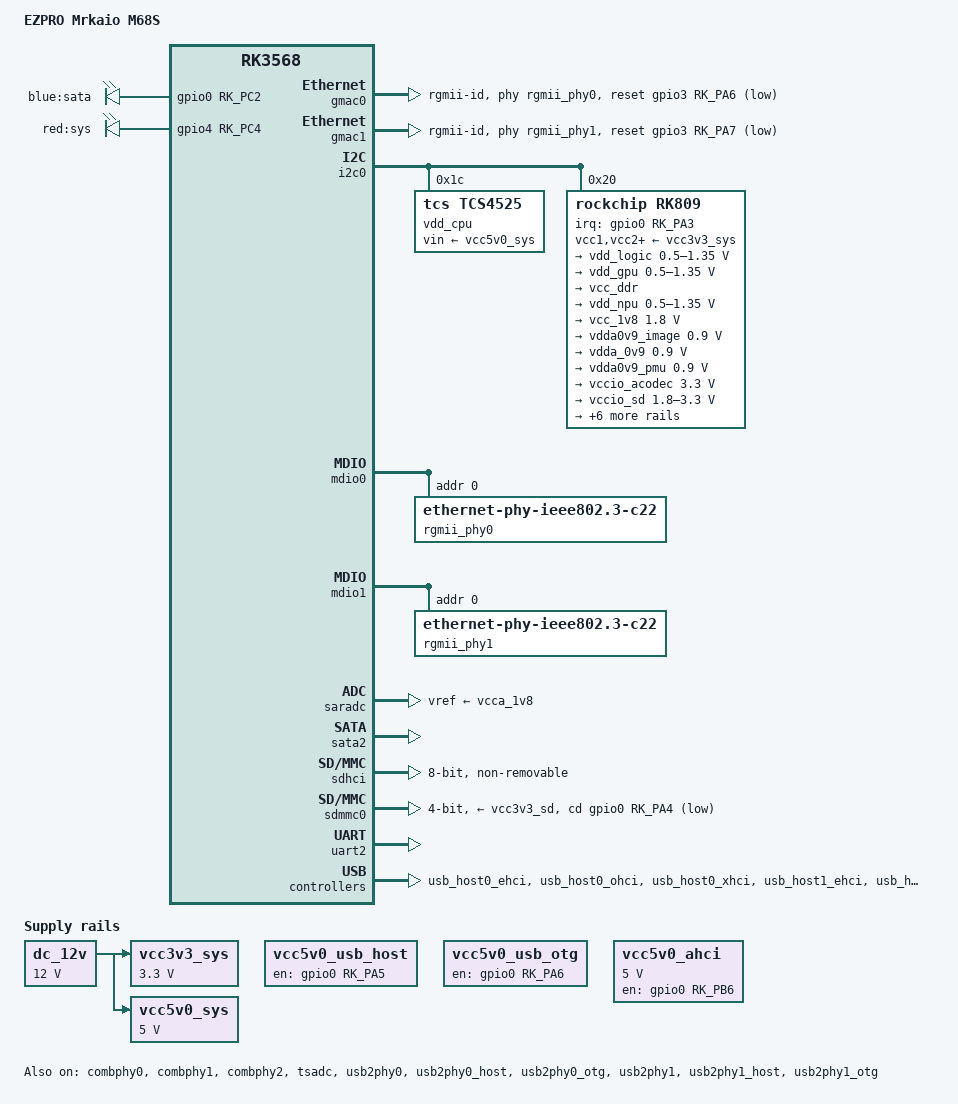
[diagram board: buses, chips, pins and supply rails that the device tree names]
// SPDX-License-Identifier: (GPL-2.0+ OR MIT)

/dts-v1/;

#include <dt-bindings/gpio/gpio.h>
#include <dt-bindings/input/input.h>
#include <dt-bindings/pinctrl/rockchip.h>
#include "rk3568.dtsi"

/ {
	model = "EZPRO Mrkaio M68S";
	compatible = "ezpro,mrkaio-m68s", "rockchip,rk3568";

	aliases {
		ethernet0 = &gmac0;
		ethernet1 = &gmac1;
		mmc0 = &sdmmc0;
		mmc1 = &sdhci;

		led-boot = &led_sys;
		led-failsafe = &led_sys;
		led-running = &led_sys;
		led-upgrade = &led_sys;
	};

	chosen {
		stdout-path = "serial2:1500000n8";
	};

	leds {
		compatible = "gpio-leds";
		pinctrl-names = "default";
		pinctrl-0 = <&led_sata_en>, <&led_sys_en>;

		sata {
			label = "blue:sata";
			gpios = <&gpio0 RK_PC2 GPIO_ACTIVE_HIGH>;
		};

		led_sys: sys {
			label = "red:sys";
			gpios = <&gpio4 RK_PC4 GPIO_ACTIVE_HIGH>;
		};
	};

	dc_12v: dc-12v {
		compatible = "regulator-fixed";
		regulator-always-on;
		regulator-boot-on;
		regulator-min-microvolt = <12000000>;
		regulator-max-microvolt = <12000000>;
		regulator-name = "dc_12v";
	};

	vcc3v3_sys: vcc3v3-sys {
		compatible = "regulator-fixed";
		regulator-always-on;
		regulator-boot-on;
		regulator-min-microvolt = <3300000>;
		regulator-max-microvolt = <3300000>;
		regulator-name = "vcc3v3_sys";
		vin-supply = <&dc_12v>;
	};

	vcc5v0_sys: vcc5v0-sys {
		compatible = "regulator-fixed";
		regulator-always-on;
		regulator-boot-on;
		regulator-min-microvolt = <5000000>;
		regulator-max-microvolt = <5000000>;
		regulator-name = "vcc5v0_sys";
		vin-supply = <&dc_12v>;
	};

	vcc5v0_usb_host: vcc5v0-usb-host {
		compatible = "regulator-fixed";
		enable-active-high;
		gpio = <&gpio0 RK_PA5 GPIO_ACTIVE_HIGH>;
		pinctrl-names = "default";
		pinctrl-0 = <&vcc5v0_usb_host_en>;
		regulator-always-on;
		regulator-boot-on;
		regulator-name = "vcc5v0_usb_host";
	};

	vcc5v0_usb_otg: vcc5v0-usb-otg {
		compatible = "regulator-fixed";
		enable-active-high;
		gpio = <&gpio0 RK_PA6 GPIO_ACTIVE_HIGH>;
		pinctrl-names = "default";
		pinctrl-0 = <&vcc5v0_usb_otg_en>;
		regulator-always-on;
		regulator-boot-on;
		regulator-name = "vcc5v0_usb_otg";
	};

	vcc5v0_ahci: vcc5v0-ahci {
		compatible = "regulator-fixed";
		enable-active-high;
		gpio = <&gpio0 RK_PB6 GPIO_ACTIVE_HIGH>;
		pinctrl-names = "default";
		pinctrl-0 = <&sata_pwr_en>;
		regulator-always-on;
		regulator-boot-on;
		regulator-min-microvolt = <5000000>;
		regulator-max-microvolt = <5000000>;
		regulator-name = "vcc5v0_ahci";
	};
};

&combphy0 {
	status = "okay";
};

&combphy1 {
	status = "okay";
};

&combphy2 {
	status = "okay";
};

&cpu0 {
	cpu-supply = <&vdd_cpu>;
};

&cpu1 {
	cpu-supply = <&vdd_cpu>;
};

&cpu2 {
	cpu-supply = <&vdd_cpu>;
};

&cpu3 {
	cpu-supply = <&vdd_cpu>;
};

&gmac0 {
	assigned-clocks = <&cru SCLK_GMAC0_RX_TX>, <&cru SCLK_GMAC0>;
	assigned-clock-parents = <&cru SCLK_GMAC0_RGMII_SPEED>;
	assigned-clock-rates = <0>, <125000000>;
	clock_in_out = "output";
	phy-mode = "rgmii-id";
	pinctrl-names = "default";
	pinctrl-0 = <&gmac0_miim
		     &gmac0_tx_bus2
		     &gmac0_rx_bus2
		     &gmac0_rgmii_clk
		     &gmac0_rgmii_bus>;
	snps,reset-gpio = <&gpio3 RK_PA6 GPIO_ACTIVE_LOW>;
	snps,reset-active-low;
	/* Reset time is 20ms, 100ms for rtl8211f */
	snps,reset-delays-us = <0 20000 100000>;
	tx_delay = <0x3c>;
	rx_delay = <0x2f>;
	phy-handle = <&rgmii_phy0>;
	status = "okay";
};

&gmac1 {
	assigned-clocks = <&cru SCLK_GMAC1_RX_TX>, <&cru SCLK_GMAC1>;
	assigned-clock-parents = <&cru SCLK_GMAC1_RGMII_SPEED>;
	assigned-clock-rates = <0>, <125000000>;
	clock_in_out = "output";
	phy-mode = "rgmii-id";
	pinctrl-names = "default";
	pinctrl-0 = <&gmac1m1_miim
		     &gmac1m1_tx_bus2
		     &gmac1m1_rx_bus2
		     &gmac1m1_rgmii_clk
		     &gmac1m1_rgmii_bus>;
	snps,reset-gpio = <&gpio3 RK_PA7 GPIO_ACTIVE_LOW>;
	snps,reset-active-low;
	/* Reset time is 20ms, 100ms for rtl8211f */
	snps,reset-delays-us = <0 20000 100000>;
	tx_delay = <0x42>;
	rx_delay = <0x28>;
	phy-handle = <&rgmii_phy1>;
	status = "okay";
};

&i2c0 {
	status = "okay";

	vdd_cpu: regulator@1c {
		compatible = "tcs,tcs4525";
		reg = <0x1c>;
		fcs,suspend-voltage-selector = <1>;
		regulator-always-on;
		regulator-boot-on;
		regulator-min-microvolt = <712500>;
		regulator-max-microvolt = <1390000>;
		regulator-name = "vdd_cpu";
		regulator-ramp-delay = <2300>;
		vin-supply = <&vcc5v0_sys>;

		regulator-state-mem {
			regulator-off-in-suspend;
		};
	};

	rk809: pmic@20 {
		compatible = "rockchip,rk809";
		reg = <0x20>;
		interrupt-parent = <&gpio0>;
		interrupts = <RK_PA3 IRQ_TYPE_LEVEL_LOW>;
		#clock-cells = <1>;
		pinctrl-names = "default";
		pinctrl-0 = <&pmic_int>;
		rockchip,system-power-controller;
		wakeup-source;

		vcc1-supply = <&vcc3v3_sys>;
		vcc2-supply = <&vcc3v3_sys>;
		vcc3-supply = <&vcc3v3_sys>;
		vcc4-supply = <&vcc3v3_sys>;
		vcc5-supply = <&vcc3v3_sys>;
		vcc6-supply = <&vcc3v3_sys>;
		vcc7-supply = <&vcc3v3_sys>;
		vcc8-supply = <&vcc3v3_sys>;
		vcc9-supply = <&vcc3v3_sys>;

		regulators {
			vdd_logic: DCDC_REG1 {
				regulator-always-on;
				regulator-boot-on;
				regulator-init-microvolt = <900000>;
				regulator-initial-mode = <0x2>;
				regulator-min-microvolt = <500000>;
				regulator-max-microvolt = <1350000>;
				regulator-name = "vdd_logic";
				regulator-ramp-delay = <6001>;

				regulator-state-mem {
					regulator-off-in-suspend;
				};
			};

			vdd_gpu: DCDC_REG2 {
				regulator-always-on;
				regulator-boot-on;
				regulator-init-microvolt = <900000>;
				regulator-initial-mode = <0x2>;
				regulator-min-microvolt = <500000>;
				regulator-max-microvolt = <1350000>;
				regulator-name = "vdd_gpu";
				regulator-ramp-delay = <6001>;

				regulator-state-mem {
					regulator-off-in-suspend;
				};
			};

			vcc_ddr: DCDC_REG3 {
				regulator-always-on;
				regulator-boot-on;
				regulator-initial-mode = <0x2>;
				regulator-name = "vcc_ddr";

				regulator-state-mem {
					regulator-on-in-suspend;
				};
			};

			vdd_npu: DCDC_REG4 {
				regulator-always-on;
				regulator-boot-on;
				regulator-init-microvolt = <900000>;
				regulator-initial-mode = <0x2>;
				regulator-min-microvolt = <500000>;
				regulator-max-microvolt = <1350000>;
				regulator-name = "vdd_npu";
				regulator-ramp-delay = <6001>;

				regulator-state-mem {
					regulator-off-in-suspend;
				};
			};

			vcc_1v8: DCDC_REG5 {
				regulator-always-on;
				regulator-boot-on;
				regulator-min-microvolt = <1800000>;
				regulator-max-microvolt = <1800000>;
				regulator-name = "vcc_1v8";

				regulator-state-mem {
					regulator-off-in-suspend;
				};
			};

			vdda0v9_image: LDO_REG1 {
				regulator-always-on;
				regulator-boot-on;
				regulator-min-microvolt = <900000>;
				regulator-max-microvolt = <900000>;
				regulator-name = "vdda0v9_image";

				regulator-state-mem {
					regulator-off-in-suspend;
				};
			};

			vdda_0v9: LDO_REG2 {
				regulator-always-on;
				regulator-boot-on;
				regulator-min-microvolt = <900000>;
				regulator-max-microvolt = <900000>;
				regulator-name = "vdda_0v9";

				regulator-state-mem {
					regulator-off-in-suspend;
				};
			};

			vdda0v9_pmu: LDO_REG3 {
				regulator-always-on;
				regulator-boot-on;
				regulator-min-microvolt = <900000>;
				regulator-max-microvolt = <900000>;
				regulator-name = "vdda0v9_pmu";

				regulator-state-mem {
					regulator-on-in-suspend;
					regulator-suspend-microvolt = <900000>;
				};
			};

			vccio_acodec: LDO_REG4 {
				regulator-always-on;
				regulator-boot-on;
				regulator-min-microvolt = <3300000>;
				regulator-max-microvolt = <3300000>;
				regulator-name = "vccio_acodec";

				regulator-state-mem {
					regulator-off-in-suspend;
				};
			};

			vccio_sd: LDO_REG5 {
				regulator-always-on;
				regulator-boot-on;
				regulator-min-microvolt = <1800000>;
				regulator-max-microvolt = <3300000>;
				regulator-name = "vccio_sd";

				regulator-state-mem {
					regulator-off-in-suspend;
				};
			};

			vcc3v3_pmu: LDO_REG6 {
				regulator-always-on;
				regulator-boot-on;
				regulator-min-microvolt = <3300000>;
				regulator-max-microvolt = <3300000>;
				regulator-name = "vcc3v3_pmu";

				regulator-state-mem {
					regulator-on-in-suspend;
					regulator-suspend-microvolt = <3300000>;
				};
			};

			vcca_1v8: LDO_REG7 {
				regulator-always-on;
				regulator-boot-on;
				regulator-min-microvolt = <1800000>;
				regulator-max-microvolt = <1800000>;
				regulator-name = "vcca_1v8";

				regulator-state-mem {
					regulator-off-in-suspend;
				};
			};

			vcca1v8_pmu: LDO_REG8 {
				regulator-always-on;
				regulator-boot-on;
				regulator-min-microvolt = <1800000>;
				regulator-max-microvolt = <1800000>;
				regulator-name = "vcca1v8_pmu";

				regulator-state-mem {
					regulator-on-in-suspend;
					regulator-suspend-microvolt = <1800000>;
				};
			};

			vcca1v8_image: LDO_REG9 {
				regulator-always-on;
				regulator-boot-on;
				regulator-min-microvolt = <1800000>;
				regulator-max-microvolt = <1800000>;
				regulator-name = "vcca1v8_image";

				regulator-state-mem {
					regulator-off-in-suspend;
				};
			};

			vcc_3v3: SWITCH_REG1 {
				regulator-always-on;
				regulator-boot-on;
				regulator-name = "vcc_3v3";

				regulator-state-mem {
					regulator-off-in-suspend;
				};
			};

			vcc3v3_sd: SWITCH_REG2 {
				regulator-always-on;
				regulator-boot-on;
				regulator-name = "vcc3v3_sd";

				regulator-state-mem {
					regulator-off-in-suspend;
				};
			};
		};
	};
};

&mdio0 {
	rgmii_phy0: ethernet-phy@0 {
		compatible = "ethernet-phy-ieee802.3-c22";
		reg = <0x0>;
	};
};

&mdio1 {
	rgmii_phy1: ethernet-phy@0 {
		compatible = "ethernet-phy-ieee802.3-c22";
		reg = <0x0>;
	};
};

&pinctrl {
	leds {
		led_sata_en: led_sata_en {
			rockchip,pins = <0 RK_PC2 RK_FUNC_GPIO &pcfg_pull_none>;
		};

		led_sys_en: led_sys_en {
			rockchip,pins = <4 RK_PC4 RK_FUNC_GPIO &pcfg_pull_none>;
		};
	};

	pmic {
		pmic_int: pmic_int {
			rockchip,pins = <0 RK_PA3 RK_FUNC_GPIO &pcfg_pull_up>;
		};
	};

	sata {
		sata_pwr_en: sata-pwr-en {
			rockchip,pins = <0 RK_PB6 RK_FUNC_GPIO &pcfg_pull_none>;
		};
	};

	usb {
		vcc5v0_usb_host_en: vcc5v0_usb_host_en {
			rockchip,pins = <0 RK_PA5 RK_FUNC_GPIO &pcfg_pull_none>;
		};

		vcc5v0_usb_otg_en: vcc5v0_usb_otg_en {
			rockchip,pins = <0 RK_PA6 RK_FUNC_GPIO &pcfg_pull_none>;
		};
	};
};

&pmu_io_domains {
	pmuio1-supply = <&vcc3v3_pmu>;
	pmuio2-supply = <&vcc3v3_pmu>;
	vccio1-supply = <&vccio_acodec>;
	vccio2-supply = <&vcc_1v8>;
	vccio3-supply = <&vccio_sd>;
	vccio4-supply = <&vcc_1v8>;
	vccio5-supply = <&vcc_3v3>;
	vccio6-supply = <&vcc_1v8>;
	vccio7-supply = <&vcc_3v3>;
	status = "okay";
};

&saradc {
	vref-supply = <&vcca_1v8>;
	status = "okay";
};

&sata2 {
	target-supply = <&vcc5v0_ahci>;
	status = "okay";
};

&sdhci {
	bus-width = <8>;
	max-frequency = <200000000>;
	non-removable;
	pinctrl-names = "default";
	pinctrl-0 = <&emmc_bus8 &emmc_clk &emmc_cmd &emmc_datastrobe>;
	status = "okay";
};

&sdmmc0 {
	bus-width = <4>;
	cap-sd-highspeed;
	cd-gpios = <&gpio0 RK_PA4 GPIO_ACTIVE_LOW>;
	disable-wp;
	pinctrl-names = "default";
	pinctrl-0 = <&sdmmc0_bus4 &sdmmc0_clk &sdmmc0_cmd &sdmmc0_det>;
	sd-uhs-sdr104;
	vmmc-supply = <&vcc3v3_sd>;
	vqmmc-supply = <&vccio_sd>;
	status = "okay";
};

&tsadc {
	rockchip,hw-tshut-mode = <1>;
	rockchip,hw-tshut-polarity = <0>;
	status = "okay";
};

&uart2 {
	status = "okay";
};

&usb_host0_ehci {
	status = "okay";
};

&usb_host0_ohci {
	status = "okay";
};

&usb_host0_xhci {
	status = "okay";
};

&usb_host1_ehci {
	status = "okay";
};

&usb_host1_ohci {
	status = "okay";
};

&usb_host1_xhci {
	status = "okay";
};

&usb2phy0 {
	status = "okay";
};

&usb2phy0_host {
	phy-supply = <&vcc5v0_usb_host>;
	status = "okay";
};

&usb2phy0_otg {
	phy-supply = <&vcc5v0_usb_otg>;
	status = "okay";
};

&usb2phy1 {
	status = "okay";
};

&usb2phy1_host {
	phy-supply = <&vcc5v0_usb_host>;
	status = "okay";
};

&usb2phy1_otg {
	phy-supply = <&vcc5v0_usb_host>;
	status = "okay";
};
